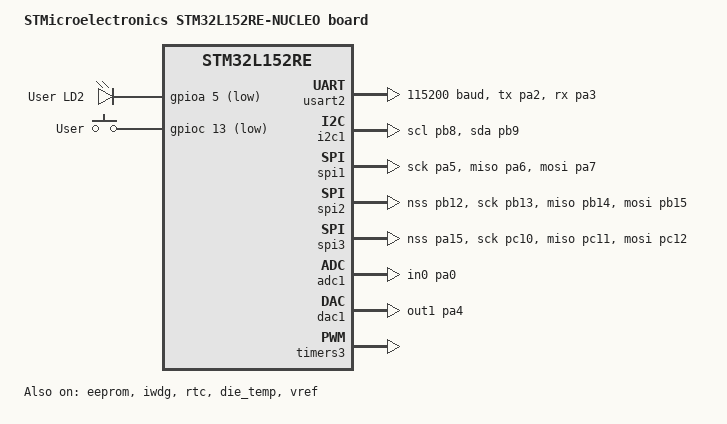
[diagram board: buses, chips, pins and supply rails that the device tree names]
/*
 * Copyright (c) 2019 Antony Pavlov <antonynpavlov@gmail.com>
 *
 * SPDX-License-Identifier: Apache-2.0
 */

/dts-v1/;
#include <st/l1/stm32l152Xe.dtsi>
#include <st/l1/stm32l152retx-pinctrl.dtsi>
#include "arduino_r3_connector.dtsi"
#include "st_morpho_connector.dtsi"
#include <zephyr/dt-bindings/input/input-event-codes.h>

/ {
	model = "STMicroelectronics STM32L152RE-NUCLEO board";
	compatible = "st,stm32l152re-nucleo";

	chosen {
		zephyr,console = &usart2;
		zephyr,shell-uart = &usart2;
		zephyr,sram = &sram0;
		zephyr,flash = &flash0;
	};

	leds: leds {
		compatible = "gpio-leds";
		green_led_0: led_0 {
			gpios = <&gpioa 5 GPIO_ACTIVE_LOW>;
			label = "User LD2";
		};
	};

	gpio_keys {
		compatible = "gpio-keys";
		user_button: button {
			label = "User";
			gpios = <&gpioc 13 GPIO_ACTIVE_LOW>;
			zephyr,code = <INPUT_KEY_0>;
		};
	};

	aliases {
		led0 = &green_led_0;
		sw0 = &user_button;
		eeprom-0 = &eeprom;
		watchdog0 = &iwdg;
		die-temp0 = &die_temp;
		volt-sensor0 = &vref;
	};
};

&clk_lsi {
	status = "okay";
};

&clk_hsi {
	status = "okay";
};

&pll {
	div = <2>;
	mul = <4>;
	clocks = <&clk_hsi>;
	status = "okay";
};

&rcc {
	clocks = <&pll>;
	clock-frequency = <DT_FREQ_M(32)>;
	ahb-prescaler = <1>;
	apb1-prescaler = <1>;
	apb2-prescaler = <1>;
};

&usart2 {
	pinctrl-0 = <&usart2_tx_pa2 &usart2_rx_pa3>;
	pinctrl-names = "default";
	current-speed = <115200>;
	status = "okay";
};

&i2c1 {
	pinctrl-0 = <&i2c1_scl_pb8 &i2c1_sda_pb9>;
	pinctrl-names = "default";
	status = "okay";
};

&spi1 {
	pinctrl-0 = <&spi1_sck_pa5 &spi1_miso_pa6 &spi1_mosi_pa7>;
	pinctrl-names = "default";
	cs-gpios = <&gpiob 6 (GPIO_ACTIVE_LOW | GPIO_PULL_UP)>;
	status = "okay";
};

&spi2 {
	pinctrl-0 = <&spi2_nss_pb12 &spi2_sck_pb13
		     &spi2_miso_pb14 &spi2_mosi_pb15>;
	pinctrl-names = "default";
	status = "okay";
};

&spi3 {
	/* SPI3 on the ST Morpho Connector CN7 pins 17, 1, 2, 3*/
	pinctrl-0 = <&spi3_nss_pa15 &spi3_sck_pc10
		     &spi3_miso_pc11 &spi3_mosi_pc12>;
	pinctrl-names = "default";
	status = "okay";
};

&eeprom {
	status = "okay";
};

&iwdg {
	status = "okay";
};

&rtc {
	clocks = <&rcc STM32_CLOCK_BUS_APB1 0x10000000>,
		 <&rcc STM32_SRC_LSI RTC_SEL(2)>;
	status = "okay";
};

&adc1 {
	pinctrl-0 = <&adc_in0_pa0>;
	pinctrl-names = "default";
	st,adc-clock-source = <ASYNC>;
	st,adc-prescaler = <4>;
	status = "okay";
};

&die_temp {
	status = "okay";
};

&dac1 {
	status = "okay";
	pinctrl-0 = <&dac_out1_pa4>;
	pinctrl-names = "default";
};

&flash0 {
	partitions {
		compatible = "fixed-partitions";
		#address-cells = <1>;
		#size-cells = <1>;

		/* Set 2KB of storage at the end of 512KB flash */
		storage_partition: partition@7f800 {
			label = "storage";
			reg = <0x0007f800 DT_SIZE_K(2)>;
		};
	};
};

&timers3 {
	status = "okay";

	pwm3: pwm {
		status = "okay";
		pinctrl-0 = <&tim3_ch1_pa6>;
		pinctrl-names = "default";
	};
};

&dma1 {
	status = "okay";
};

&vref {
	status = "okay";
};
